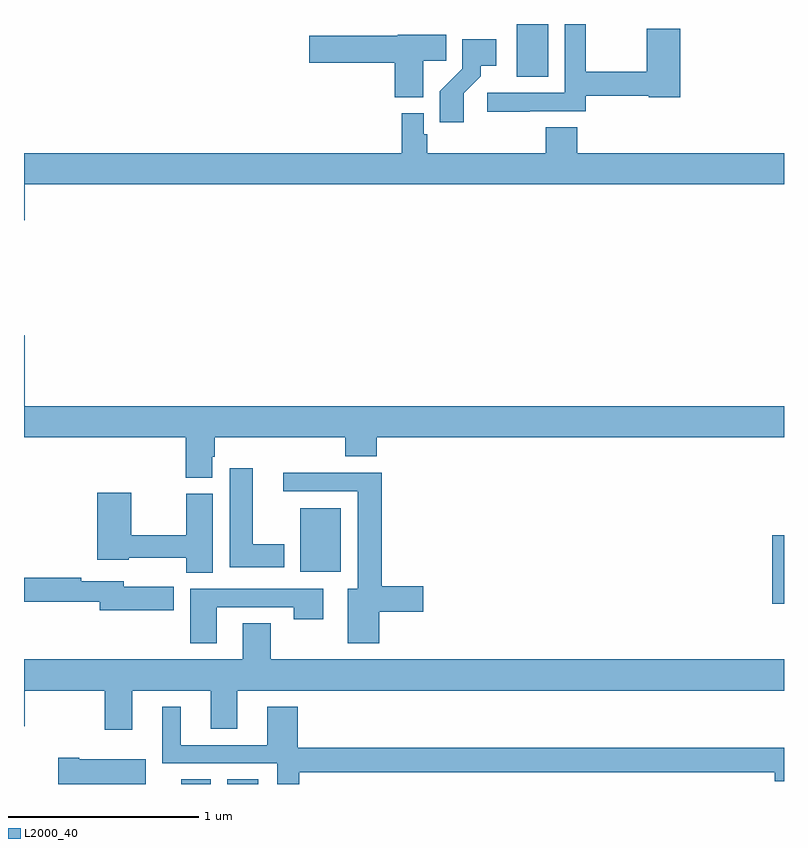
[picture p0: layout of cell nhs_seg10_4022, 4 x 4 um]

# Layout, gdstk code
import gdstk
lib = gdstk.Library(unit=1e-6, precision=1e-09)
def R(c, l, rs):  # rectangles x0, y0, x1, y1
    for r in rs: c.add(gdstk.rectangle(r[:2], r[2:], *l))
def P(c, l, *ps):  # polygons
    for p in ps: c.add(gdstk.Polygon(p, *l))
L2000_40 = (2000, 40)

nhs_seg10_4022 = lib.new_cell('nhs_seg10_4022')
R(nhs_seg10_4022, L2000_40, [(333.827,1290.5,333.982,1290.524), (334.07,1290.5,334.234,1290.524), (336.938,1291.45,337,1291.81), (334.454,1291.616,334.666,1291.951), (335.594,1294.222,335.758,1294.5)])
P(nhs_seg10_4022, L2000_40, [(335.663,1294.041),(335.956,1294.041),(335.956,1294.122),(336.288,1294.122),(336.288,1294.114),(336.455,1294.114),(336.455,1294.474),(336.277,1294.474),(336.277,1294.25),(335.956,1294.25),(335.956,1294.5),(335.847,1294.5),(335.847,1294.137),(335.439,1294.137),(335.439,1294.039),(335.663,1294.039)],
  [(335.101,1294.306),(335.222,1294.306),(335.222,1294.444),(334.968,1294.444),(334.968,1294.439),(334.5,1294.439),(334.5,1294.297),(334.952,1294.297),(334.952,1294.115),(335.101,1294.115)],
  [(335.314,1294.135),(335.404,1294.225),(335.404,1294.28),(335.485,1294.28),(335.485,1294.42),(335.307,1294.42),(335.307,1294.265),(335.188,1294.146),(335.188,1293.984),(335.314,1293.984)],
  [(335.747,1293.956),(335.747,1293.82),(335.123,1293.82),(335.123,1293.921),(335.103,1293.921),(335.103,1294.03),(334.987,1294.03),(334.987,1293.82),(333,1293.82),(333,1293.468),(333.004,1293.468),(333.004,1293.656),(337,1293.656),(337,1293.82),(335.912,1293.82),(335.912,1293.956)],
  [(333.991,1292.223),(334.004,1292.223),(334.004,1292.324),(334.691,1292.324),(334.691,1292.225),(334.856,1292.225),(334.856,1292.324),(337,1292.324),(337,1292.488),(333.004,1292.488),(333.004,1292.863),(333,1292.863),(333,1292.324),(333.851,1292.324),(333.851,1292.113),(333.991,1292.113)],
  [(334.369,1291.762),(334.204,1291.762),(334.204,1292.161),(334.082,1292.161),(334.082,1291.64),(334.369,1291.64)],
  [(334.87,1291.406),(335.101,1291.406),(335.101,1291.541),(334.883,1291.541),(334.883,1292.138),(334.365,1292.138),(334.365,1292.04),(334.757,1292.04),(334.757,1291.528),(334.703,1291.528),(334.703,1291.242),(334.87,1291.242)],
  [(333.994,1292.028),(333.853,1292.028),(333.853,1291.808),(333.564,1291.808),(333.564,1292.032),(333.386,1292.032),(333.386,1291.679),(333.552,1291.679),(333.552,1291.691),(333.853,1291.691),(333.853,1291.612),(333.994,1291.612)],
  [(333.787,1291.537),(333.526,1291.537),(333.526,1291.566),(333.302,1291.566),(333.302,1291.586),(333,1291.586),(333,1291.458),(333.398,1291.458),(333.398,1291.415),(333.787,1291.415)],
  [(334.015,1291.431),(334.42,1291.431),(334.42,1291.368),(334.576,1291.368),(334.576,1291.527),(333.875,1291.527),(333.875,1291.242),(334.015,1291.242)],
  [(333.571,1290.992),(333.983,1290.992),(333.983,1290.79),(334.123,1290.79),(334.123,1290.992),(337,1290.992),(337,1291.156),(334.299,1291.156),(334.299,1291.346),(334.151,1291.346),(334.151,1291.156),(333,1291.156),(333,1290.804),(333.004,1290.804),(333.004,1290.992),(333.424,1290.992),(333.424,1290.786),(333.571,1290.786)],
  [(334.448,1290.562),(336.95,1290.562),(336.95,1290.515),(337,1290.515),(337,1290.691),(334.442,1290.691),(334.442,1290.907),(334.28,1290.907),(334.28,1290.705),(333.826,1290.705),(333.826,1290.907),(333.728,1290.907),(333.728,1290.609),(334.332,1290.609),(334.332,1290.5),(334.448,1290.5)],
  [(333.64,1290.631),(333.292,1290.631),(333.292,1290.639),(333.18,1290.639),(333.18,1290.5),(333.64,1290.5)])

lib.write_gds('nhs_seg10_4022.gds')
